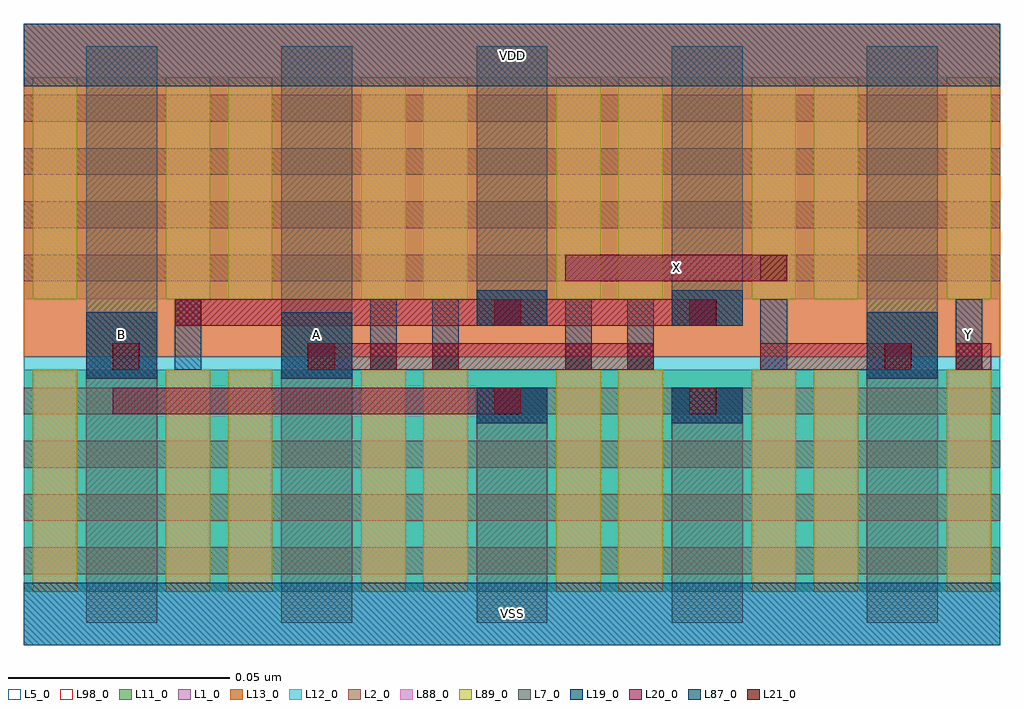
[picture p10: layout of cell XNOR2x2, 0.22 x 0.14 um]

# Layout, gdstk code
import gdstk
lib = gdstk.Library(unit=1e-6, precision=1e-12)
def R(c, l, rs):  # rectangles x0, y0, x1, y1
    for r in rs: c.add(gdstk.rectangle(r[:2], r[2:], *l))
def A(c, l, x, y, w, h, nx, ny, dx, dy):  # array of equal rectangles
    R(c, l, [(x+i*dx, y+j*dy, x+i*dx+w, y+j*dy+h) for i in range(nx) for j in range(ny)])
L1_0 = (1, 0)
L2_0 = (2, 0)
L5_0 = (5, 0)
L7_0 = (7, 0)
L11_0 = (11, 0)
L12_0 = (12, 0)
L13_0 = (13, 0)
L19_0 = (19, 0)
L20_0 = (20, 0)
L21_0 = (21, 0)
L87_0 = (87, 0)
L88_0 = (88, 0)
L89_0 = (89, 0)
L98_0 = (98, 0)

xnor2x2 = lib.new_cell('XNOR2x2')
R(xnor2x2, L1_0, [(0,0.065,0.22,0.14)])
A(xnor2x2, L2_0, 0, 0.016, 0.22, 0.006, 1, 4, 0, 0.012)
A(xnor2x2, L2_0, 0, 0.082, 0.22, 0.006, 1, 4, 0, 0.012)
R(xnor2x2, L5_0, [(0,0,0.22,0.14)])
R(xnor2x2, L7_0, [(0.014,0.005,0.03,0.135), (0.058,0.005,0.074,0.135), (0.102,0.005,0.118,0.058), (0.146,0.005,0.162,0.058), (0.19,0.005,0.206,0.135), (0.102,0.072,0.118,0.135), (0.146,0.072,0.162,0.135)])
R(xnor2x2, L11_0, [(0,0.012,0.22,0.062), (0,0.078,0.22,0.128)])
R(xnor2x2, L12_0, [(0,0,0.22,0.065)])
R(xnor2x2, L13_0, [(0,0.065,0.22,0.14)])
R(xnor2x2, L19_0, [(0,0,0.22,0.014), (0.002,0,0.012,0.012), (0.046,0,0.056,0.012), (0.178,0,0.188,0.012), (0.102,0.05,0.118,0.058), (0.146,0.05,0.162,0.058), (0.014,0.06,0.03,0.075), (0.058,0.06,0.074,0.075), (0.19,0.06,0.206,0.075), (0.034,0.062,0.04,0.078), (0.078,0.062,0.084,0.078), (0.092,0.062,0.098,0.078), (0.122,0.062,0.128,0.078), (0.136,0.062,0.142,0.078), (0.166,0.062,0.172,0.078), (0.21,0.062,0.216,0.078), (0.102,0.072,0.118,0.08), (0.146,0.072,0.162,0.08), (0,0.126,0.22,0.14), (0.002,0.128,0.012,0.14), (0.046,0.128,0.056,0.14), (0.178,0.128,0.188,0.14)])
R(xnor2x2, L20_0, [(0.02,0.052,0.112,0.058), (0.064,0.062,0.098,0.068), (0.078,0.062,0.142,0.068), (0.166,0.062,0.2,0.068), (0.21,0.062,0.218,0.068), (0.034,0.072,0.156,0.078), (0.122,0.082,0.172,0.088)])
A(xnor2x2, L21_0, 0.064, 0.062, 0.006, 0.006, 3, 1, 0.014, 0)
R(xnor2x2, L21_0, [(0.106,0.052,0.112,0.058), (0.15,0.052,0.156,0.058), (0.02,0.062,0.026,0.068), (0.122,0.062,0.128,0.068), (0.136,0.062,0.142,0.068), (0.194,0.062,0.2,0.068), (0.21,0.062,0.216,0.068), (0.034,0.072,0.04,0.078), (0.106,0.072,0.112,0.078), (0.15,0.072,0.156,0.078), (0.166,0.082,0.172,0.088)])
R(xnor2x2, L87_0, [(0.102,0.05,0.118,0.058), (0.146,0.05,0.162,0.058), (0.014,0.06,0.03,0.075), (0.058,0.06,0.074,0.075), (0.19,0.06,0.206,0.075), (0.102,0.072,0.118,0.08), (0.146,0.072,0.162,0.08)])
R(xnor2x2, L88_0, [(0.002,0.012,0.012,0.062), (0.032,0.012,0.042,0.062), (0.046,0.012,0.056,0.062), (0.076,0.012,0.086,0.062), (0.09,0.012,0.1,0.062), (0.12,0.012,0.13,0.062), (0.134,0.012,0.144,0.062), (0.164,0.012,0.174,0.062), (0.178,0.012,0.188,0.062), (0.208,0.012,0.218,0.062), (0.002,0.078,0.012,0.128), (0.032,0.078,0.042,0.128), (0.046,0.078,0.056,0.128), (0.076,0.078,0.086,0.128), (0.09,0.078,0.1,0.128), (0.12,0.078,0.13,0.128), (0.134,0.078,0.144,0.128), (0.164,0.078,0.174,0.128), (0.178,0.078,0.188,0.128), (0.208,0.078,0.218,0.128)])
R(xnor2x2, L89_0, [(0.002,0.012,0.012,0.062), (0.032,0.012,0.042,0.062), (0.046,0.012,0.056,0.062), (0.076,0.012,0.086,0.062), (0.09,0.012,0.1,0.062), (0.12,0.012,0.13,0.062), (0.134,0.012,0.144,0.062), (0.164,0.012,0.174,0.062), (0.178,0.012,0.188,0.062), (0.208,0.012,0.218,0.062), (0.002,0.078,0.012,0.128), (0.032,0.078,0.042,0.128), (0.046,0.078,0.056,0.128), (0.076,0.078,0.086,0.128), (0.09,0.078,0.1,0.128), (0.12,0.078,0.13,0.128), (0.134,0.078,0.144,0.128), (0.164,0.078,0.174,0.128), (0.178,0.078,0.188,0.128), (0.208,0.078,0.218,0.128)])
R(xnor2x2, L98_0, [(0,0,0.22,0.14)])
xnor2x2.add(gdstk.Label('A', (0.066,0.07), layer=101, texttype=0))
xnor2x2.add(gdstk.Label('B', (0.022,0.07), layer=101, texttype=0))
xnor2x2.add(gdstk.Label('X', (0.147,0.085), layer=101, texttype=0))
xnor2x2.add(gdstk.Label('Y', (0.213,0.07), layer=101, texttype=0))
xnor2x2.add(gdstk.Label('VDD', (0.11,0.133), layer=101, texttype=0))
xnor2x2.add(gdstk.Label('VSS', (0.11,0.007), layer=101, texttype=0))

lib.write_gds('XNOR2x2.gds')
